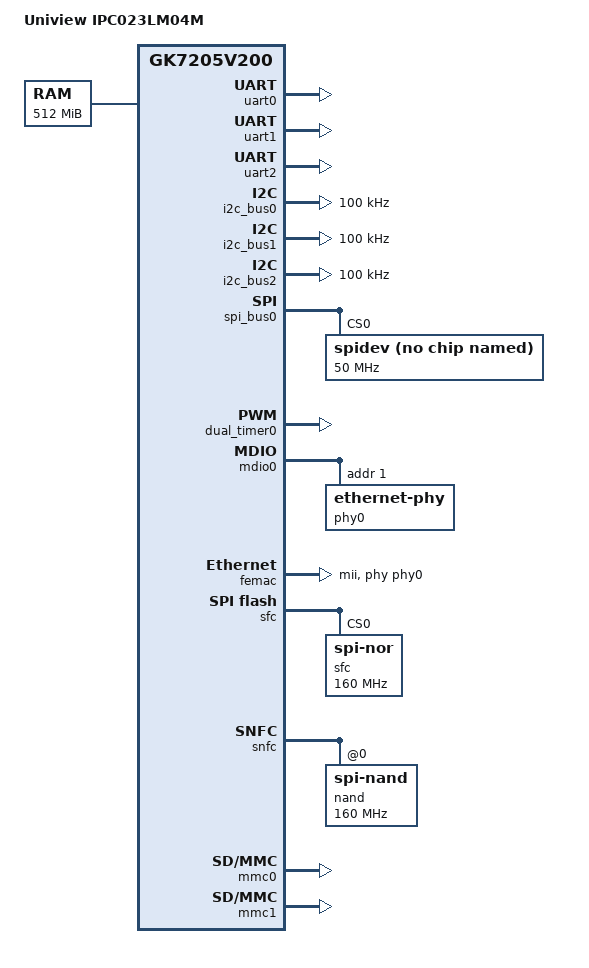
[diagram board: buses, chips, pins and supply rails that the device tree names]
/*
 * Copyright (c) Hunan Goke,Chengdu Goke,Shandong Goke. 2021. All rights reserved.
 */

/dts-v1/;
#include "gk7205v200.dtsi"

/ {
	model = "Uniview IPC023LM04M";
	compatible = "uniview,ipc023lm04m",
	    "goke,gk7205v200";

	memory {
		device_type = "memory";
		reg = <0x40000000 0x20000000>;
	};
};

&uart0 {
	status = "okay";
};

&uart1 {
	status = "okay";
};

&uart2 {
	status = "okay";
};

&i2c_bus0 {
	status = "okay";
	clock-frequency = <100000>;
};

&i2c_bus1 {
	status = "okay";
	clock-frequency = <100000>;
};

&i2c_bus2 {
	status = "okay";
	clock-frequency = <100000>;
};

&spi_bus0{
	status = "okay";
	num-cs = <1>;

	spidev@0 {
		compatible = "rohm,dh2228fv";
		reg = <0>;
		pl022,interface = <0>;
		pl022,com-mode = <0>;
		spi-max-frequency = <50000000>;
	};
};

&spi_bus1{
	status = "disabled";
	num-cs = <2>;

	spidev@0 {
		compatible = "rohm,dh2228fv";
		reg = <0>;
		pl022,interface = <0>;
		pl022,com-mode = <0>;
		spi-max-frequency = <50000000>;
	};
	spidev@1 {
		compatible = "rohm,dh2228fv";
		reg = <1>;
		pl022,interface = <0>;
		pl022,com-mode = <0>;
		spi-max-frequency = <50000000>;
	};
};

&dual_timer0 {
	status = "okay";
};

&mdio0 {
	goke,phy-reset-delays-us = <10000 20000 150000>;
	phy0: ethernet-phy@1 {
		reg = <1>;
	};
};

&femac {
	mac-address = [00 00 00 00 00 00];
	phy-mode = "mii";
	phy-handle = <&phy0>;
	status = "okay";
};

&sfc {
	sfc {
		compatible = "jedec,spi-nor";
		reg = <0>;
		spi-max-frequency = <160000000>;
	};
};

&snfc {
	nand {
		compatible = "jedec,spi-nand";
		reg = <0>;
		spi-max-frequency = <160000000>;
	};
};

&mmc0 {
	status = "okay";
};

&mmc1 {
	status = "okay";
};

&gpio_chip0 {
	status = "okay";
	gpio-line-names = "GPIO0_0", "UART0_RXD", "UART0_TXD", "PWM0", "PWM1";
};

&gpio_chip1 {
	status = "okay";
	gpio-line-names =
		"LSADC_CH0", "LSADC_CH1",
		"JTAG_TRSTN", "JTAG_TCK", "JTAG_TMS", "JTAG_TDO";
};

&gpio_chip2 {
	status = "okay";
	gpio-line-names = "JTAG_TD1";
};

&gpio_chip4 {
	status = "okay";
	gpio-line-names =
		"SDIO0_CCLK_OUT", "SDIO0_CCMD",
		"SDIO0_CDATA0", "SDIO0_CDATA1", "SDIO0_CDATA2", "SDIO0_CDATA3",
		"SDIO0_CARD_DETECT";
};

&gpio_chip5 {
	status = "okay";
	gpio-line-names =
		"ETH_LINK_STA_LED", "ETH_LINK_ACT_LED",
		"SENSOR_CLK", "SENSOR_RSTN",
		"I2C0_SDA", "I2C0_SCL";
};

&gpio_chip6 {
	status = "okay";
	gpio-line-names =
		"I2C2_SDA", "I2C2_SCL",
		"LCD_DATA0", "LCD_DATA1", "LCD_DATA2", "LCD_DATA3";
};

&gpio_chip7 {
	status = "okay";
	gpio-line-names = "LCD_DATA4", "ircut_pin2", "LCD_DATA6", "LCD_DATA7";
};

&gpio_chip8 {
	status = "okay";
	gpio-line-names = "LCD_DE", "ircut_pin1", "LCD_VS", "LCD_CLK";
};

